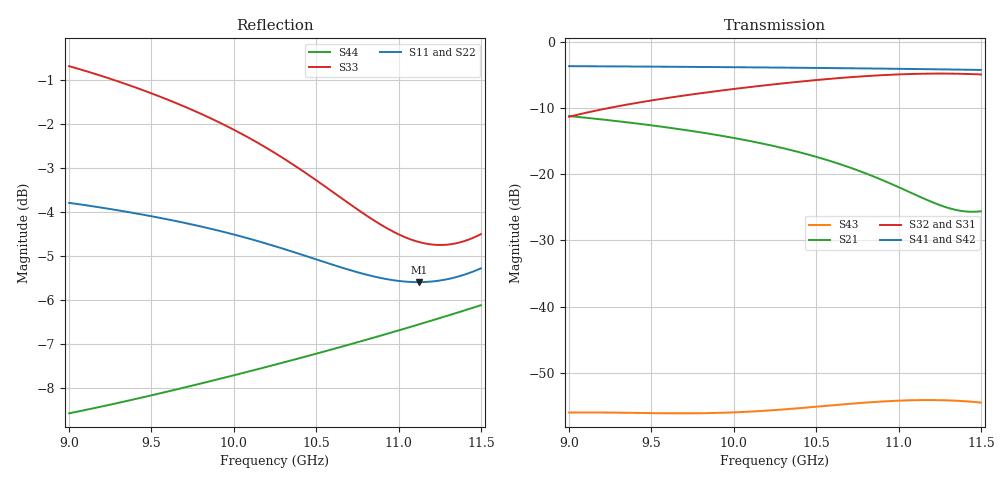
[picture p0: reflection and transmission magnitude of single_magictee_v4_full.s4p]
! Generated from PyAEDT SolutionData; AEDT ExportNetworkData workaround
# GHz S MA R 50
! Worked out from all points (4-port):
!   101 points, 9 GHz to 11.5 GHz, reference 50 ohm
!   strongest paths, dB at 9 GHz, 9.625 GHz, 10.25 GHz, 10.88 GHz, 11.5 GHz:
!     S41: -3.6, -3.7, -3.8, -4.0, -4.2
!     S42: -3.7, -3.8, -3.9, -4.0, -4.3
!     S32: -11.3, -8.3, -6.4, -5.0, -4.9
!     S31: -11.4, -8.4, -6.4, -5.1, -4.9
!     S21: -11.2, -13.0, -15.8, -20.6, -25.6
!     S43: -56.0, -56.1, -55.7, -54.4, -54.5
!   lowest |S11| = -5.6 dB at 11.12 GHz (marker M1), VSWR 3.21, Z = 15.6 - j0.882 ohm
!   |S11| at or under -10 dB: nowhere
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9  0.6459 61.8  0.2759 65.1  0.2701 29.8  0.6585 45.9
   0.2759 65.1  0.6495 61.5  0.2729 30.0  0.6538 -134.2
   0.2701 29.8  0.2729 30.0  0.9233 177.1  0.001578 119.6
   0.6585 45.9  0.6538 -134.2  0.001578 119.6  0.3726 -147.4
9.325  0.6322 21.0  0.2499 21.0  0.3295 -30.4  0.6553 9.1
       0.2499 21.0  0.6354 20.7  0.3325 -30.3  0.6506 -171.0
       0.3295 -30.4  0.3325 -30.3  0.8837 98.4  0.001573 60.2
       0.6553 9.1  0.6506 -171.0  0.001573 60.2  0.3839 177.4
9.675  0.6145 -21.4  0.2192 -26.1  0.3879 -93.2  0.6511 -29.4
       0.2192 -26.1  0.6172 -21.8  0.3912 -93.2  0.6465 150.5
       0.3879 -93.2  0.3912 -93.2  0.8346 16.4  0.001557 -0.5
       0.6511 -29.4  0.6465 150.5  0.001557 -0.5  0.3976 140.3
10.1  0.5877 -71.0  0.1785 -83.6  0.4544 -167.5  0.6452 -74.9
      0.1785 -83.6  0.5897 -71.4  0.458 -167.5  0.6408 105.1
      0.4544 -167.5  0.458 -167.5  0.7641 -81.0  0.001605 -71.2
      0.6452 -74.9  0.6408 105.1  0.001605 -71.2  0.4161 96.1
10.5  0.5572 -115.2  0.1358 -137.9  0.513 123.2  0.6386 -116.7
      0.1358 -137.9  0.5585 -115.7  0.5169 123.2  0.6344 63.3
      0.513 123.2  0.5169 123.2  0.6853 -173.8  0.001747 -138.7
      0.6386 -116.7  0.6344 63.3  0.001747 -138.7  0.4355 55.2
11.125  0.5251 -177.8  0.06809 148.1  0.5725 13.8  0.6261 179.2
        0.06809 148.1  0.5254 -178.3  0.5765 13.8  0.622 -0.9
        0.5725 13.8  0.5765 13.8  0.583 29.3  0.00196 106.5
        0.6261 179.2  0.622 -0.9  0.00196 106.5  0.4702 -8.3
11.5  0.5443 147.1  0.05258 130.7  0.5663 -52.5  0.6167 141.1
      0.05258 130.7  0.5449 146.7  0.5701 -52.5  0.6127 -38.9
      0.5663 -52.5  0.5701 -52.5  0.5952 -70.5  0.001878 32.4
      0.6167 141.1  0.6127 -38.9  0.001878 32.4  0.4943 -46.3
